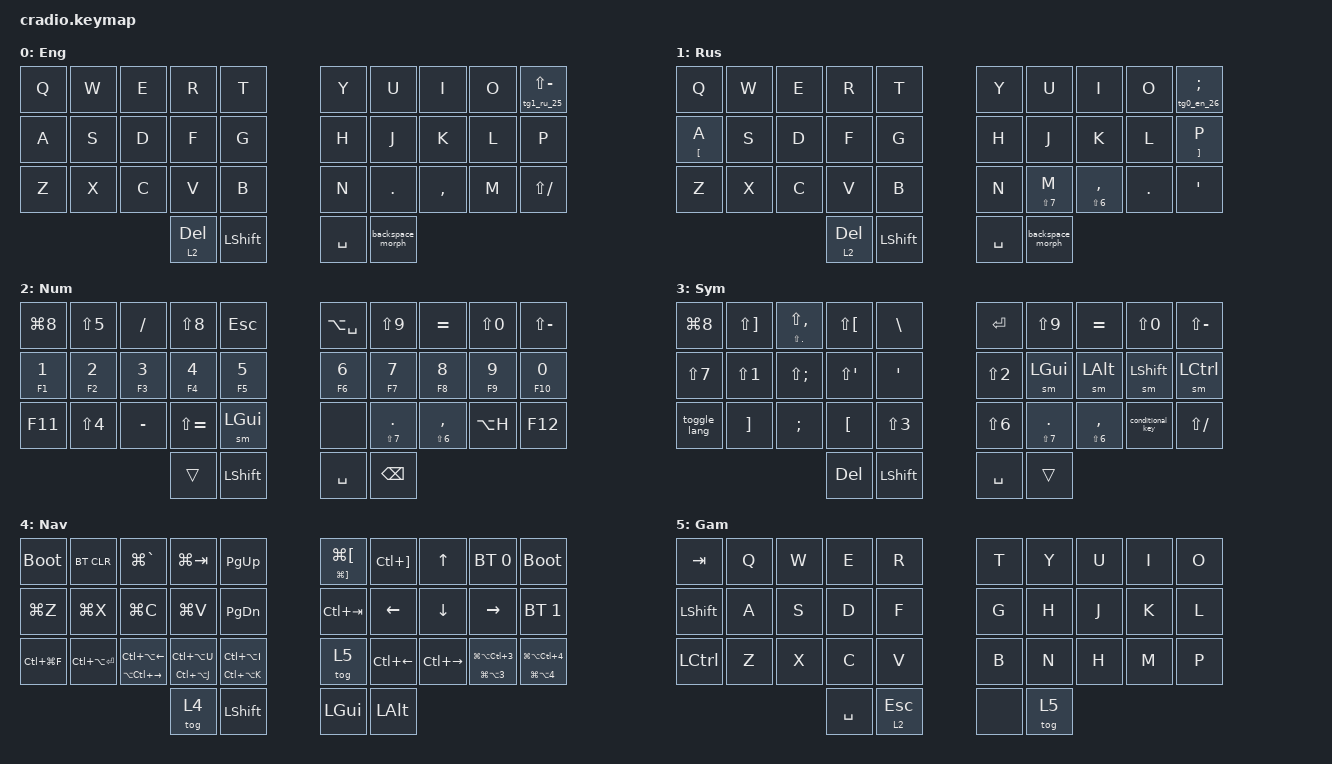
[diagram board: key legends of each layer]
// Copyright (c) 2022 The ZMK Contributors
// SPDX-License-Identifier: MIT

#define ZMK_MOUSE_DEFAULT_MOVE_VAL 2500  // 600
#define ZMK_MOUSE_DEFAULT_SCRL_VAL 20    // 10

#include <dt-bindings/zmk/mouse.h>
#include <behaviors.dtsi>
#include <dt-bindings/zmk/bt.h>
#include <dt-bindings/zmk/keys.h>

#define MAC 0
#define WIN 1
#define RIG 2
#define LEF 3
#define TRI 4
#define MOUSE 5

/ {
    chosen { zmk,charmap = &charmap_us; };

    behaviors {
        ht: hold_tap {
            label = "hold_tap_letters";
            compatible = "zmk,behavior-hold-tap";
            #binding-cells = <2>;
            flavor = "tap-preferred";
            tapping-term-ms = <220>;
            quick-tap-ms = <150>;
            global-quick-tap;
            bindings = <&kp>, <&kp>;
        };

        td11: td11 {
            compatible = "zmk,behavior-hold-tap";
            label = "TD11";
            #binding-cells = <2>;
            flavor = "tap-preferred";
            tapping-term-ms = <220>;
            quick-tap-ms = <150>;
            global-quick-tap;
            bindings = <&tg1_ru_25>, <&kp>;
        };

        td8: td8 {
            compatible = "zmk,behavior-hold-tap";
            label = "TD8";
            #binding-cells = <2>;
            flavor = "tap-preferred";
            tapping-term-ms = <220>;
            quick-tap-ms = <150>;
            global-quick-tap;
            bindings = <&tg0_en_26>, <&kp>;
        };

        sm: sticky_mod {
            compatible = "zmk,behavior-sticky-key";
            label = "STICKY_MOD";
            bindings = <&kp>;
            #binding-cells = <1>;
            release-after-ms = <5000>;
            quick-release;
            ignore-modifiers;
        };

        backspace_morph: backspace_morph {
            compatible = "zmk,behavior-mod-morph";
            label = "BACKSPACE_MORPH";
            bindings = <&lt 3 BACKSPACE>, <&lt 3 LA(BACKSPACE)>;

            #binding-cells = <0>;
            mods = <(MOD_LSFT)>;
        };

        toggle_lang: toggle_lang {
            compatible = "zmk,behavior-toggle-lang";
            #binding-cells = <0>;
            label = "TOGGLE_LANG";
        };
        
        conditional_key: conditional_key {
            compatible = "zmk,behavior-conditional-key";
            #binding-cells = <0>;
            label = "CONDITIONAL_KEY";
        };

        mmv {
            acceleration-exponent = <1>;      // 1
            time-to-max-speed-ms = <300>;    // 40
            delay-ms = <0>;                   // 0
        };

        msc {
            acceleration-exponent = <0>;      // 0
            time-to-max-speed-ms = <40>;      // 500
            delay-ms = <0>;                   // 10
        };
    };

    conditional_layers { compatible = "zmk,conditional-layers"; };

    combos {
        compatible = "zmk,combos";

        tab {
            bindings = <&kp TAB>;
            key-positions = <11 12 13>;
            layers = <0 1 4>;
        };

        enter {
            bindings = <&kp ENTER>;
            key-positions = <16 17 18>;
            layers = <0 1 4>;
        };

        tg4 {
            bindings = <&tog 4>;
            key-positions = <31 32>;
            layers = <0 1>;
        };

        cmd {
            bindings = <&kp LEFT_GUI>;
            key-positions = <30 31>;
            layers = <0 1 2>;
        };
    };

    macros {
        tg1_ru_25: tg1_ru {
            compatible = "zmk,behavior-macro";
            #binding-cells = <0>;
            bindings = <&kp LG(N9)>, <&macro_wait_time 50>, <&tog 1>;

            label = "TG1_RU";
        };

        tg0_en_26: tg0_en_26 {
            compatible = "zmk,behavior-macro";
            #binding-cells = <0>;
            bindings = <&kp LG(N8)>, <&macro_wait_time 50>, <&tog 1>;

            label = "TG0_EN_26";
        };
    };

    keymap {
        compatible = "zmk,keymap";

        Eng {
            bindings = <
&kp Q  &kp W  &kp E  &kp R         &kp T         &kp Y      &kp U             &kp I      &kp O  &td11 0 LS(MINUS)
&kp A  &kp S  &kp D  &kp F         &kp G         &kp H      &kp J             &kp K      &kp L  &kp P
&kp Z  &kp X  &kp C  &kp V         &kp B         &kp N      &kp PERIOD        &kp COMMA  &kp M  &kp LS(SLASH)
                     &lt 2 DELETE  &kp LSHIFT    &kp SPACE  &backspace_morph
            >;
        };

        Rus {
            bindings = <
&kp Q               &kp W  &kp E  &kp R         &kp T         &kp Y      &kp U             &kp I                   &kp O       &td8 0 SEMICOLON
&ht LEFT_BRACKET A  &kp S  &kp D  &kp F         &kp G         &kp H      &kp J             &kp K                   &kp L       &ht RIGHT_BRACKET P
&kp Z               &kp X  &kp C  &kp V         &kp B         &kp N      &ht LS(N7) M      &ht LS(NUMBER_6) COMMA  &kp PERIOD  &kp SQT
                                  &lt 2 DELETE  &kp LSHIFT    &kp SPACE  &backspace_morph
            >;
        };

        Num {
            bindings = <
&kp LG(N8)       &kp LS(NUMBER_5)  &kp SLASH        &kp LS(NUMBER_8)  &kp ESCAPE         &kp LA(SPACE)    &kp LS(N9)               &kp EQUAL               &kp LS(N0)       &kp LS(MINUS)
&ht F1 NUMBER_1  &ht F2 NUMBER_2   &ht F3 NUMBER_3  &ht F4 NUMBER_4   &ht F5 NUMBER_5    &ht F6 NUMBER_6  &ht F7 NUMBER_7          &ht F8 NUMBER_8         &ht F9 NUMBER_9  &ht F10 NUMBER_0
&kp F11          &kp LS(NUMBER_4)  &kp MINUS        &kp LS(EQUAL)     &sm LEFT_GUI       &none            &ht LS(NUMBER_7) PERIOD  &ht LS(NUMBER_6) COMMA  &kp LA(H)        &kp F12
                                                    &trans            &kp LEFT_SHIFT     &kp SPACE        &kp BACKSPACE
            >;
        };

        Sym {
            bindings = <
&kp LG(N8)    &kp LS(RIGHT_BRACKET)  &ht LS(PERIOD) LS(COMMA)  &kp LS(LEFT_BRACKET)  &kp BACKSLASH       &kp ENTER         &kp LS(N9)         &kp EQUAL               &kp LS(N0)        &kp LS(MINUS)
&kp LS(N7)    &kp LS(NUMBER_1)       &kp LS(SEMICOLON)         &kp LS(SQT)           &kp SQT             &kp LS(NUMBER_2)  &sm LEFT_GUI       &sm LEFT_ALT            &sm LEFT_SHIFT    &sm LCTRL
&toggle_lang  &kp RIGHT_BRACKET      &kp SEMICOLON             &kp LEFT_BRACKET      &kp LS(NUMBER_3)    &kp LS(NUMBER_6)  &ht LS(N7) PERIOD  &ht LS(NUMBER_6) COMMA  &conditional_key  &kp LS(SLASH)
                                                             &kp DEL               &kp LEFT_SHIFT      &kp SPACE         &trans
            >;
        };

        Nav {
            bindings = <
&bootloader    &bt BT_CLR         &kp LG(GRAVE)                   &kp LG(TAB)              &kp PAGE_UP                &ht LG(RIGHT_BRACKET) LG(LEFT_BRACKET)  &kp LC(RIGHT_BRACKET)  &kp UP         &bt BT_SEL 0                               &bootloader
&kp LG(Z)      &kp LG(X)          &kp LG(C)                       &kp LG(V)                &kp PAGE_DOWN              &kp LC(TAB)                             &kp LEFT               &kp DOWN       &kp RIGHT                                  &bt BT_SEL 1
&kp LC(LG(F))  &kp LC(LA(ENTER))  &ht LA(LC(RIGHT)) LC(LA(LEFT))  &ht LC(LA(J)) LC(LA(U))  &ht LC(LA(K)) LC(LA(I))    &tog 5                                  &kp LC(LEFT)           &kp LC(RIGHT)  &ht LG(LA(NUMBER_3)) LG(LA(LC(NUMBER_3)))  &ht LG(LA(NUMBER_4)) LG(LA(LC(NUMBER_4)))
                                                                  &tog 4                   &kp LEFT_SHIFT             &kp LEFT_GUI                            &kp LEFT_ALT
            >;
        };

        Gam {
            bindings = <
&kp TAB         &kp Q  &kp W  &kp E      &kp R           &kp T  &kp Y   &kp U  &kp I  &kp O
&kp LEFT_SHIFT  &kp A  &kp S  &kp D      &kp F           &kp G  &kp H   &kp J  &kp K  &kp L
&kp LCTRL       &kp Z  &kp X  &kp C      &kp V           &kp B  &kp N   &kp H  &kp M  &kp P
                              &kp SPACE  &lt 2 ESCAPE    &none  &tog 5
            >;
        };
    };
};
